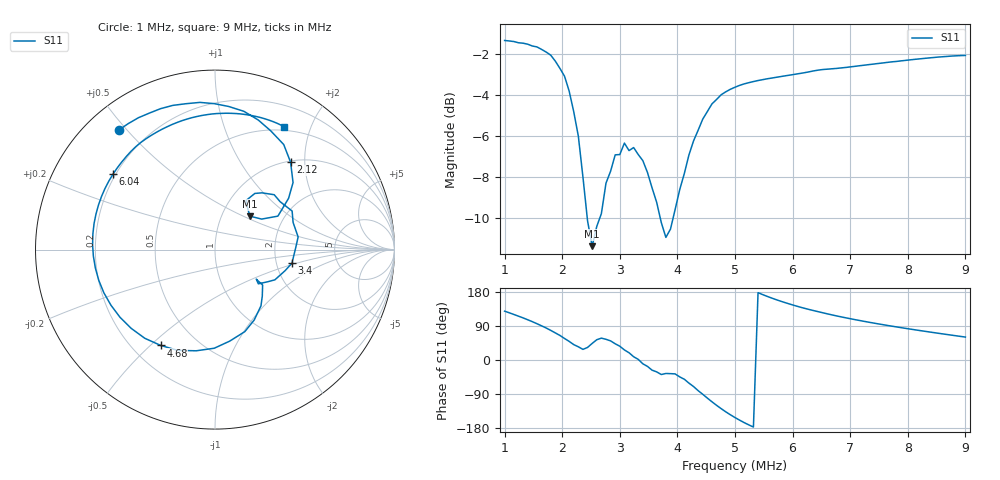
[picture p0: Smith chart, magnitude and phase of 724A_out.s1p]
# Hz S RI R 50
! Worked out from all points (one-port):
!   101 points, 1 MHz to 9 MHz, reference 50 ohm
!   lowest |S11| = -11.4 dB at 2.52 MHz (marker M1), VSWR 1.74, Z = 67.9 + j27.3 ohm
!   |S11| at or under -10 dB: 2.434 MHz to 2.655 MHz (221.1 kHz wide, 8.69 % of centre); 3.701 MHz to 3.927 MHz (226.7 kHz wide, 5.94 % of centre)
!   S11 on the Smith chart (normalised r, x): 1 MHz: 0.10, +0.48; 2.12 MHz: 1.02, +1.70; 3.4 MHz: 2.44, -0.46; 4.68 MHz: 0.31, -0.54; 6.04 MHz: 0.19, +0.32; 9 MHz: 0.45, +1.62
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1000000  -0.5362 0.6657
1320000  -0.304 0.7849
1560000  -0.0844 0.8201
1800000  0.1606 0.7707
2040000  0.3829 0.5854
2120000  0.4211 0.4871
2200000  0.4349 0.3733
2360000  0.3504 0.1865
2520000  0.1946 0.1863
2680000  0.1729 0.2732
2760000  0.2219 0.3129
3000000  0.3628 0.267
3080000  0.4296 0.2149
3240000  0.4631 0.0706
3400000  0.4287 -0.0757
3560000  0.3335 -0.1684
3800000  0.2301 -0.1646
4040000  0.2634 -0.2596
4280000  0.1662 -0.4569
4440000  -0.0043 -0.5496
4680000  -0.303 -0.5337
5000000  -0.5799 -0.3095
5400000  -0.682 0.0274
6040000  -0.5683 0.4205
6520000  -0.4141 0.5963
7000000  -0.2397 0.6968
8040000  0.1115 0.7584
9000000  0.3871 0.6838
